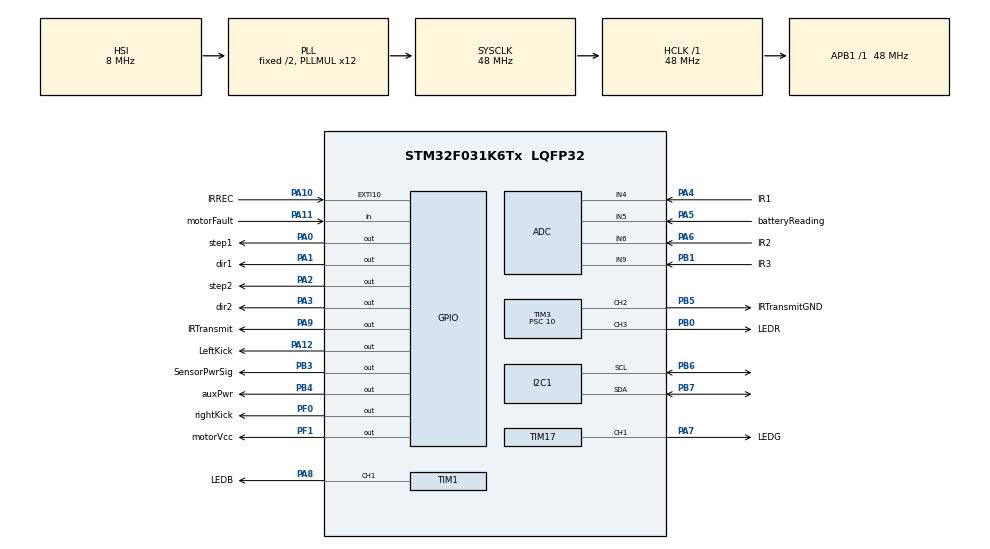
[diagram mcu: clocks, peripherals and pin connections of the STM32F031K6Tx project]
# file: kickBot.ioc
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ADC.Rank=ADC_RANK_CHANNEL_NUMBER
ADC.SamplingTime=ADC_SAMPLETIME_239CYCLES_5
I2C1.OwnAddress2Masks=I2C_OA2_NOMASK
I2C1.Timing=0x2000090E
Mcu.Family=STM32F0
Mcu.Name=STM32F031K6Tx
Mcu.Package=LQFP32
NVIC.ADC1_IRQn=true\:0\:0\:false\:false\:true
NVIC.EXTI4_15_IRQn=true\:0\:0\:false\:false\:true
NVIC.TIM16_IRQn=true\:0\:0\:false\:false\:true
PA0.GPIO_Label=step1
PA0.Signal=GPIO_Output
PA1.GPIO_Label=dir1
PA1.Signal=GPIO_Output
PA10.GPIO_Label=IRREC
PA10.GPIO_ModeDefaultEXTI=GPIO_MODE_IT_FALLING
PA10.Signal=GPXTI10
PA11.GPIO_Label=motorFault
PA11.Signal=GPIO_Input
PA12.GPIO_Label=LeftKick
PA12.Signal=GPIO_Output
PA13.Mode=Serial_Wire
PA13.Signal=SYS_SWDIO
PA14.Mode=Serial_Wire
PA14.Signal=SYS_SWCLK
PA2.GPIO_Label=step2
PA2.Signal=GPIO_Output
PA3.GPIO_Label=dir2
PA3.Signal=GPIO_Output
PA4.GPIO_Label=IR1
PA4.Mode=IN4
PA4.Signal=ADC_IN4
PA5.GPIO_Label=batteryReading
PA5.Mode=IN5
PA5.Signal=ADC_IN5
PA6.GPIO_Label=IR2
PA6.Mode=IN6
PA6.Signal=ADC_IN6
PA7.GPIO_Label=LEDG
PA7.Signal=S_TIM17_CH1
PA8.GPIO_Label=LEDB
PA8.Signal=S_TIM1_CH1
PA9.GPIO_Label=IRTransmit
PA9.Signal=GPIO_Output
PB0.GPIO_Label=LEDR
PB0.Signal=S_TIM3_CH3
PB1.GPIO_Label=IR3
PB1.Mode=IN9
PB1.Signal=ADC_IN9
PB3.GPIO_Label=SensorPwrSig
PB3.Signal=GPIO_Output
PB4.GPIO_Label=auxPwr
PB4.Signal=GPIO_Output
PB5.GPIO_Label=IRTransmitGND
PB5.Signal=S_TIM3_CH2
PB6.Mode=I2C
PB6.Signal=I2C1_SCL
PB7.Mode=I2C
PB7.Signal=I2C1_SDA
PF0-OSC_IN.GPIO_Label=rightKick
PF0-OSC_IN.Signal=GPIO_Output
PF1-OSC_OUT.GPIO_Label=motorVcc
PF1-OSC_OUT.Signal=GPIO_Output
ProjectManager.HeapSize=0x200
ProjectManager.StackSize=0x400
ProjectManager.TargetToolchain=SW4STM32
RCC.AHBCLKDivider=RCC_SYSCLK_DIV1
RCC.AHBFreq_Value=48000000
RCC.APB1CLKDivider=RCC_HCLK_DIV1
RCC.APB1Freq_Value=48000000
RCC.APB1TimFreq_Value=48000000
RCC.CECEnable=false
RCC.ClockTypeHCLK=RCC_CLOCKTYPE_HCLK
RCC.ClockTypePCLK1=RCC_CLOCKTYPE_PCLK1
RCC.DATA_CACHE_ENABLE=0
RCC.EnableHSE=false
RCC.EnableHSERTCDevisor=false
RCC.EnableLSE=false
RCC.EnableLSERTC=false
RCC.EnableMCOMultDivisor=false
RCC.HCLKFreq_Value=48000000
RCC.HSEState=RCC_HSE_OFF
RCC.HSI14State=RCC_HSI14_ON
RCC.HSI48State=RCC_HSI48_OFF
RCC.HSIState=RCC_HSI_ON
RCC.I2C1Enable=true
RCC.INSTRUCTION_CACHE_ENABLE=0
RCC.IWDGEnable=false
RCC.LSIState=RCC_LSI_ON
RCC.MCOEnable=false
RCC.OscillatorTypeHSI=RCC_OSCILLATORTYPE_HSI
RCC.OscillatorTypeHSI14=RCC_OSCILLATORTYPE_HSI14
RCC.OscillatorTypeLSI=RCC_OSCILLATORTYPE_LSI
RCC.PLLDivider=RCC_PREDIV_DIV1
RCC.PLLMUL=RCC_PLL_MUL12
RCC.PLLSource=RCC_PLLSOURCE_HSI
RCC.PLLSourceVirtual=RCC_PLLSOURCE_HSI
RCC.PLLState=RCC_PLL_ON
RCC.RCC_MCODiv=RCC_MCODIV_1
RCC.RCC_MCOMult_Clock_Source_FROM_PLLMUL=RCC_MCO1SOURCE_PLLCLK
RCC.RCC_PERIPHCLK_I2C1Var=RCC_PERIPHCLK_I2C1
RCC.RCC_PERIPHCLK_RTCVar=RCC_PERIPHCLK_RTC
RCC.RCC_PERIPHCLK_USART1Var=RCC_PERIPHCLK_USART1
RCC.RTCEnable=true
RCC.SYSCLKFreq_VALUE=48000000
RCC.SYSCLKSource=RCC_SYSCLKSOURCE_PLLCLK
RCC.TimSys_Div=SYSTICK_CLKSOURCE_HCLK
RCC.USART1Enable=false
RCC.USART2Enable=false
RCC.USBEnable=false
RTC.OutPut=RTC_OUTPUT_DISABLE
RTC.OutPutPolarity=RTC_OUTPUT_POLARITY_HIGH
RTC.OutPutType=RTC_OUTPUT_TYPE_OPENDRAIN
SH.S_TIM17_CH1.0=TIM17_CH1,PWM Generation1 CH1
SH.S_TIM1_CH1.0=TIM1_CH1,PWM Generation1 CH1
SH.S_TIM3_CH2.0=TIM3_CH2,PWM Generation2 CH2
SH.S_TIM3_CH3.0=TIM3_CH3,PWM Generation3 CH3
TIM1.Channel-PWM\ Generation1\ CH1=TIM_CHANNEL_1
TIM1.ClearInputSource=TIM_CLEARINPUTSOURCE_NONE
TIM1.ClearInputState=ENABLE
TIM1.OCNIdleState_1=TIM_OCNIDLESTATE_RESET
TIM1.OCNPolarity_1=TIM_OCNPOLARITY_HIGH
TIM1.Period=2000
TIM1.Prescaler=200
TIM14.Period=0xffff
TIM14.Prescaler=48
TIM16.Period=500
TIM16.Prescaler=48
TIM17.Channel=TIM_CHANNEL_1
TIM17.OCNIdleState_1=TIM_OCNIDLESTATE_RESET
TIM17.OCNPolarity_1=TIM_OCNPOLARITY_HIGH
TIM17.Period=2000
TIM17.Prescaler=200
TIM2.Channel-PWM\ Generation1\ No\ Output=TIM_CHANNEL_1
TIM2.Channel-PWM\ Generation2\ No\ Output=TIM_CHANNEL_2
TIM2.Channel-PWM\ Generation3\ No\ Output=TIM_CHANNEL_3
TIM2.Channel-PWM\ Generation4\ No\ Output=TIM_CHANNEL_4
TIM2.ClearInputSource=TIM_CLEARINPUTSOURCE_NONE
TIM2.ClearInputState=ENABLE
TIM2.Period=200
TIM2.Prescaler=12
TIM3.Channel-PWM\ Generation2\ CH2=TIM_CHANNEL_2
TIM3.Channel-PWM\ Generation3\ CH3=TIM_CHANNEL_3
TIM3.ClearInputSource=TIM_CLEARINPUTSOURCE_NONE
TIM3.ClearInputState=ENABLE
TIM3.Period=126
TIM3.Prescaler=10
VP_RTC_VS_RTC_Activate.Mode=RTC_Enabled
VP_RTC_VS_RTC_Calendar.Mode=RTC_Calendar
VP_TIM14_VS_ClockSourceINT.Mode=Enable_Timer
VP_TIM16_VS_ClockSourceINT.Mode=Enable_Timer
VP_TIM17_VS_ClockSourceINT.Mode=Enable_Timer
VP_TIM2_VS_no_output1.Mode=PWM Generation1 No Output
VP_TIM2_VS_no_output2.Mode=PWM Generation2 No Output
VP_TIM2_VS_no_output3.Mode=PWM Generation3 No Output
VP_TIM2_VS_no_output4.Mode=PWM Generation4 No Output
board=kickBot

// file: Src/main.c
/**
  ******************************************************************************
  * File Name          : main.c
  * Description        : Main program body
  ******************************************************************************
  *
  * COPYRIGHT(c) 2017 STMicroelectronics
  *
  * Redistribution and use in source and binary forms, with or without modification,
  * are permitted provided that the following conditions are met:
  *   1. Redistributions of source code must retain the above copyright notice,
  *      this list of conditions and the following disclaimer.
  *   2. Redistributions in binary form must reproduce the above copyright notice,
  *      this list of conditions and the following disclaimer in the documentation
  *      and/or other materials provided with the distribution.
  *   3. Neither the name of STMicroelectronics nor the names of its contributors
  *      may be used to endorse or promote products derived from this software
  *      without specific prior written permission.
  *
  * THIS SOFTWARE IS PROVIDED BY THE COPYRIGHT HOLDERS AND CONTRIBUTORS "AS IS"
  * AND ANY EXPRESS OR IMPLIED WARRANTIES, INCLUDING, BUT NOT LIMITED TO, THE
  * IMPLIED WARRANTIES OF MERCHANTABILITY AND FITNESS FOR A PARTICULAR PURPOSE ARE
  * DISCLAIMED. IN NO EVENT SHALL THE COPYRIGHT HOLDER OR CONTRIBUTORS BE LIABLE
  * FOR ANY DIRECT, INDIRECT, INCIDENTAL, SPECIAL, EXEMPLARY, OR CONSEQUENTIAL
  * DAMAGES (INCLUDING, BUT NOT LIMITED TO, PROCUREMENT OF SUBSTITUTE GOODS OR
  * SERVICES; LOSS OF USE, DATA, OR PROFITS; OR BUSINESS INTERRUPTION) HOWEVER
  * CAUSED AND ON ANY THEORY OF LIABILITY, WHETHER IN CONTRACT, STRICT LIABILITY,
  * OR TORT (INCLUDING NEGLIGENCE OR OTHERWISE) ARISING IN ANY WAY OUT OF THE USE
  * OF THIS SOFTWARE, EVEN IF ADVISED OF THE POSSIBILITY OF SUCH DAMAGE.
  *
  ******************************************************************************
  */
#include "main.h"
#include "stm32f0xx_hal.h"

/* USER CODE BEGIN Includes */
#include "NEC_Decode.h"
#include "urobotMain.h"
/* USER CODE END Includes */

ADC_HandleTypeDef hadc;

I2C_HandleTypeDef hi2c1;

RTC_HandleTypeDef hrtc;

TIM_HandleTypeDef htim1;
TIM_HandleTypeDef htim2;
TIM_HandleTypeDef htim3;
TIM_HandleTypeDef htim14;
TIM_HandleTypeDef htim16;
TIM_HandleTypeDef htim17;

/* USER CODE BEGIN PV */
/* Private variables ---------------------------------------------------------*/
unsigned int index = 0;
static int raw[4];
/* USER CODE END PV */

void SystemClock_Config(void);
void Error_Handler(void);
static void MX_GPIO_Init(void);
static void MX_ADC_Init(void);
static void MX_I2C1_Init(void);
static void MX_TIM3_Init(void);
static void MX_TIM16_Init(void);
static void MX_TIM14_Init(void);
static void MX_TIM1_Init(void);
static void MX_RTC_Init(void);
static void MX_TIM2_Init(void);
static void MX_TIM17_Init(void);

void HAL_TIM_MspPostInit(TIM_HandleTypeDef *htim);

/* USER CODE BEGIN PFP */
/* Private function prototypes -----------------------------------------------*/

/* USER CODE END PFP */

/* USER CODE BEGIN 0 */
int highIndex = 0;
void HAL_ADC_ConvCpltCallback(ADC_HandleTypeDef* hadc){
	if(__HAL_ADC_GET_FLAG(hadc,ADC_FLAG_EOC)){
		raw[index] = HAL_ADC_GetValue(hadc);
		index++;
		if(index > highIndex){
			highIndex = index;
		}
	}

	if(__HAL_ADC_GET_FLAG(hadc,ADC_FLAG_EOS)){
		static int lowInd = 1024;
		if (index < lowInd) lowInd = index;
		index = 0;
		voltage = 1.0422*3*((3.3*raw[1])/4096.0); //Only add break points in this section else you break the timing on the ADC (I think)
		rightIR = raw[0];
		leftIR = raw[3];
		backIR = raw[2];
		if(emittedBit == 1){
			rightAcc += rightIR;
			leftAcc += leftIR;
			backAcc += backIR;
		}
		else{
			rightAcc -= rightIR;
			leftAcc -= leftIR ;
			backAcc -= backIR;
		}
	}

}
void HAL_TIM_PeriodElapsedCallback(TIM_HandleTypeDef *htim){
	if(htim->Instance == hardware.htim16->Instance){
		millisecondCallback();
	}
}

void HAL_RTC_AlarmAEventCallback(RTC_HandleTypeDef *hrtc)
{
	//reinitialise stuff after falling asleep.
	  MX_GPIO_Init();
	  MX_TIM2_Init();
	  MX_TIM3_Init();
	  MX_TIM1_Init();
	  MX_ADC_Init();
	  MX_TIM16_Init();
	  MX_TIM17_Init();
}

/* USER CODE END 0 */

int main(void)
{

  /* USER CODE BEGIN 1 */
	HAL_GPIO_WritePin(GPIOF, GPIO_PIN_1, GPIO_PIN_SET);

  /* USER CODE END 1 */

  /* MCU Configuration----------------------------------------------------------*/

  /* Reset of all peripherals, Initializes the Flash interface and the Systick. */
  HAL_Init();
  HAL_GPIO_WritePin(GPIOF, GPIO_PIN_1, GPIO_PIN_SET);
  /* Configure the system clock */
  SystemClock_Config();

  /* Initialize all configured peripherals */
  MX_GPIO_Init();
  MX_ADC_Init();
  MX_I2C1_Init();
  MX_TIM3_Init();
  MX_TIM16_Init();
  MX_TIM14_Init();
  MX_TIM1_Init();
  MX_RTC_Init();
  MX_TIM2_Init();
  MX_TIM17_Init();

  /* USER CODE BEGIN 2 */

	hardware.hadc = &hadc;
	hardware.hrtc = &hrtc;
	hardware.htim1 = &htim1;
	hardware.htim2 = &htim2;
	hardware.htim16 = &htim16;
	hardware.htim17 = &htim17;
	hardware.htim3= &htim3;
	hardware.htim14 = &htim14;

	//HAL_ADC_Start_IT(&hardware.hadc);
	//while(1);

  urobotMain();
  /* USER CODE END 2 */

  /* Infinite loop */

}

/** System Clock Configuration
*/
void SystemClock_Config(void)
{

  RCC_OscInitTypeDef RCC_OscInitStruct;
  RCC_ClkInitTypeDef RCC_ClkInitStruct;
  RCC_PeriphCLKInitTypeDef PeriphClkInit;

    /**Initializes the CPU, AHB and APB busses clocks
    */
  RCC_OscInitStruct.OscillatorType = RCC_OSCILLATORTYPE_HSI|RCC_OSCILLATORTYPE_HSI14
                              |RCC_OSCILLATORTYPE_LSI;
  RCC_OscInitStruct.HSIState = RCC_HSI_ON;
  RCC_OscInitStruct.HSI14State = RCC_HSI14_ON;
  RCC_OscInitStruct.HSICalibrationValue = 16;
  RCC_OscInitStruct.HSI14CalibrationValue = 16;
  RCC_OscInitStruct.LSIState = RCC_LSI_ON;
  RCC_OscInitStruct.PLL.PLLState = RCC_PLL_ON;
  RCC_OscInitStruct.PLL.PLLSource = RCC_PLLSOURCE_HSI;
  RCC_OscInitStruct.PLL.PLLMUL = RCC_PLL_MUL12;
  RCC_OscInitStruct.PLL.PREDIV = RCC_PREDIV_DIV1;
  if (HAL_RCC_OscConfig(&RCC_OscInitStruct) != HAL_OK)
  {
    Error_Handler();
  }

    /**Initializes the CPU, AHB and APB busses clocks
    */
  RCC_ClkInitStruct.ClockType = RCC_CLOCKTYPE_HCLK|RCC_CLOCKTYPE_SYSCLK
                              |RCC_CLOCKTYPE_PCLK1;
  RCC_ClkInitStruct.SYSCLKSource = RCC_SYSCLKSOURCE_PLLCLK;
  RCC_ClkInitStruct.AHBCLKDivider = RCC_SYSCLK_DIV1;
  RCC_ClkInitStruct.APB1CLKDivider = RCC_HCLK_DIV1;

  if (HAL_RCC_ClockConfig(&RCC_ClkInitStruct, FLASH_LATENCY_1) != HAL_OK)
  {
    Error_Handler();
  }

  PeriphClkInit.PeriphClockSelection = RCC_PERIPHCLK_USART1|RCC_PERIPHCLK_I2C1
                              |RCC_PERIPHCLK_RTC;
  PeriphClkInit.I2c1ClockSelection = RCC_I2C1CLKSOURCE_HSI;
  PeriphClkInit.RTCClockSelection = RCC_RTCCLKSOURCE_LSI;
  if (HAL_RCCEx_PeriphCLKConfig(&PeriphClkInit) != HAL_OK)
  {
    Error_Handler();
  }

    /**Configure the Systick interrupt time
    */
  HAL_SYSTICK_Config(HAL_RCC_GetHCLKFreq()/1000);

    /**Configure the Systick
    */
  HAL_SYSTICK_CLKSourceConfig(SYSTICK_CLKSOURCE_HCLK);

  /* SysTick_IRQn interrupt configuration */
  HAL_NVIC_SetPriority(SysTick_IRQn, 0, 0);
}

/* ADC init function */
static void MX_ADC_Init(void)
{

  ADC_ChannelConfTypeDef sConfig;

    /**Configure the global features of the ADC (Clock, Resolution, Data Alignment and number of conversion)
    */
  hadc.Instance = ADC1;
  hadc.Init.ClockPrescaler = ADC_CLOCK_ASYNC_DIV1;
  hadc.Init.Resolution = ADC_RESOLUTION_12B;
  hadc.Init.DataAlign = ADC_DATAALIGN_RIGHT;
  hadc.Init.ScanConvMode = ADC_SCAN_DIRECTION_FORWARD;
  hadc.Init.EOCSelection = ADC_EOC_SINGLE_CONV;
  hadc.Init.LowPowerAutoWait = DISABLE;
  hadc.Init.LowPowerAutoPowerOff = DISABLE;
  hadc.Init.ContinuousConvMode = DISABLE;
  hadc.Init.DiscontinuousConvMode = DISABLE;
  hadc.Init.ExternalTrigConv = ADC_SOFTWARE_START;
  hadc.Init.ExternalTrigConvEdge = ADC_EXTERNALTRIGCONVEDGE_NONE;
  hadc.Init.DMAContinuousRequests = DISABLE;
  hadc.Init.Overrun = ADC_OVR_DATA_PRESERVED;
  if (HAL_ADC_Init(&hadc) != HAL_OK)
  {
    Error_Handler();
  }

    /**Configure for the selected ADC regular channel to be converted.
    */
  sConfig.Channel = ADC_CHANNEL_4;
  sConfig.Rank = ADC_RANK_CHANNEL_NUMBER;
  sConfig.SamplingTime = ADC_SAMPLETIME_239CYCLES_5;
  if (HAL_ADC_ConfigChannel(&hadc, &sConfig) != HAL_OK)
  {
    Error_Handler();
  }

    /**Configure for the selected ADC regular channel to be converted.
    */
  sConfig.Channel = ADC_CHANNEL_5;
  if (HAL_ADC_ConfigChannel(&hadc, &sConfig) != HAL_OK)
  {
    Error_Handler();
  }

    /**Configure for the selected ADC regular channel to be converted.
    */
  sConfig.Channel = ADC_CHANNEL_6;
  if (HAL_ADC_ConfigChannel(&hadc, &sConfig) != HAL_OK)
  {
    Error_Handler();
  }

    /**Configure for the selected ADC regular channel to be converted.
    */
  sConfig.Channel = ADC_CHANNEL_9;
  if (HAL_ADC_ConfigChannel(&hadc, &sConfig) != HAL_OK)
  {
    Error_Handler();
  }

}

/* I2C1 init function */
static void MX_I2C1_Init(void)
{

  hi2c1.Instance = I2C1;
  hi2c1.Init.Timing = 0x2000090E;
  hi2c1.Init.OwnAddress1 = 0;
  hi2c1.Init.AddressingMode = I2C_ADDRESSINGMODE_7BIT;
  hi2c1.Init.DualAddressMode = I2C_DUALADDRESS_DISABLE;
  hi2c1.Init.OwnAddress2 = 0;
  hi2c1.Init.OwnAddress2Masks = I2C_OA2_NOMASK;
  hi2c1.Init.GeneralCallMode = I2C_GENERALCALL_DISABLE;
  hi2c1.Init.NoStretchMode = I2C_NOSTRETCH_DISABLE;
  if (HAL_I2C_Init(&hi2c1) != HAL_OK)
  {
    Error_Handler();
  }

    /**Configure Analogue filter
    */
  if (HAL_I2CEx_ConfigAnalogFilter(&hi2c1, I2C_ANALOGFILTER_ENABLE) != HAL_OK)
  {
    Error_Handler();
  }

    /**Configure Digital filter
    */
  if (HAL_I2CEx_ConfigDigitalFilter(&hi2c1, 0) != HAL_OK)
  {
    Error_Handler();
  }

}

/* RTC init function */
static void MX_RTC_Init(void)
{

  RTC_TimeTypeDef sTime;
  RTC_DateTypeDef sDate;

    /**Initialize RTC Only
    */
  hrtc.Instance = RTC;
  hrtc.Init.HourFormat = RTC_HOURFORMAT_24;
  hrtc.Init.AsynchPrediv = 127;
  hrtc.Init.SynchPrediv = 255;
  hrtc.Init.OutPut = RTC_OUTPUT_DISABLE;
  hrtc.Init.OutPutPolarity = RTC_OUTPUT_POLARITY_HIGH;
  hrtc.Init.OutPutType = RTC_OUTPUT_TYPE_OPENDRAIN;
  if (HAL_RTC_Init(&hrtc) != HAL_OK)
  {
    Error_Handler();
  }

    /**Initialize RTC and set the Time and Date
    */
  sTime.Hours = 0x0;
  sTime.Minutes = 0x0;
  sTime.Seconds = 0x0;
  sTime.DayLightSaving = RTC_DAYLIGHTSAVING_NONE;
  sTime.StoreOperation = RTC_STOREOPERATION_RESET;
  if (HAL_RTC_SetTime(&hrtc, &sTime, RTC_FORMAT_BCD) != HAL_OK)
  {
    Error_Handler();
  }

  sDate.WeekDay = RTC_WEEKDAY_MONDAY;
  sDate.Month = RTC_MONTH_JANUARY;
  sDate.Date = 0x1;
  sDate.Year = 0x0;

  if (HAL_RTC_SetDate(&hrtc, &sDate, RTC_FORMAT_BCD) != HAL_OK)
  {
    Error_Handler();
  }

  if(HAL_RTCEx_BKUPRead(&hrtc, RTC_BKP_DR0) != 0x32F2){
    HAL_RTCEx_BKUPWrite(&hrtc,RTC_BKP_DR0,0x32F2);
  }

}

/* TIM1 init function */
static void MX_TIM1_Init(void)
{

  TIM_MasterConfigTypeDef sMasterConfig;
  TIM_OC_InitTypeDef sConfigOC;
  TIM_BreakDeadTimeConfigTypeDef sBreakDeadTimeConfig;

  htim1.Instance = TIM1;
  htim1.Init.Prescaler = 200;
  htim1.Init.CounterMode = TIM_COUNTERMODE_UP;
  htim1.Init.Period = 2000;
  htim1.Init.ClockDivision = TIM_CLOCKDIVISION_DIV1;
  htim1.Init.RepetitionCounter = 0;
  htim1.Init.AutoReloadPreload = TIM_AUTORELOAD_PRELOAD_DISABLE;
  if (HAL_TIM_PWM_Init(&htim1) != HAL_OK)
  {
    Error_Handler();
  }

  sMasterConfig.MasterOutputTrigger = TIM_TRGO_RESET;
  sMasterConfig.MasterSlaveMode = TIM_MASTERSLAVEMODE_DISABLE;
  if (HAL_TIMEx_MasterConfigSynchronization(&htim1, &sMasterConfig) != HAL_OK)
  {
    Error_Handler();
  }

  sConfigOC.OCMode = TIM_OCMODE_PWM1;
  sConfigOC.Pulse = 0;
  sConfigOC.OCPolarity = TIM_OCPOLARITY_HIGH;
  sConfigOC.OCNPolarity = TIM_OCNPOLARITY_HIGH;
  sConfigOC.OCFastMode = TIM_OCFAST_DISABLE;
  sConfigOC.OCIdleState = TIM_OCIDLESTATE_RESET;
  sConfigOC.OCNIdleState = TIM_OCNIDLESTATE_RESET;
  if (HAL_TIM_PWM_ConfigChannel(&htim1, &sConfigOC, TIM_CHANNEL_1) != HAL_OK)
  {
    Error_Handler();
  }

  sBreakDeadTimeConfig.OffStateRunMode = TIM_OSSR_DISABLE;
  sBreakDeadTimeConfig.OffStateIDLEMode = TIM_OSSI_DISABLE;
  sBreakDeadTimeConfig.LockLevel = TIM_LOCKLEVEL_OFF;
  sBreakDeadTimeConfig.DeadTime = 0;
  sBreakDeadTimeConfig.BreakState = TIM_BREAK_DISABLE;
  sBreakDeadTimeConfig.BreakPolarity = TIM_BREAKPOLARITY_HIGH;
  sBreakDeadTimeConfig.AutomaticOutput = TIM_AUTOMATICOUTPUT_DISABLE;
  if (HAL_TIMEx_ConfigBreakDeadTime(&htim1, &sBreakDeadTimeConfig) != HAL_OK)
  {
    Error_Handler();
  }

  HAL_TIM_MspPostInit(&htim1);

}

/* TIM2 init function */
static void MX_TIM2_Init(void)
{

  TIM_MasterConfigTypeDef sMasterConfig;
  TIM_OC_InitTypeDef sConfigOC;

  htim2.Instance = TIM2;
  htim2.Init.Prescaler = 12;
  htim2.Init.CounterMode = TIM_COUNTERMODE_UP;
  htim2.Init.Period = 200;
  htim2.Init.ClockDivision = TIM_CLOCKDIVISION_DIV1;
  htim2.Init.AutoReloadPreload = TIM_AUTORELOAD_PRELOAD_DISABLE;
  if (HAL_TIM_PWM_Init(&htim2) != HAL_OK)
  {
    Error_Handler();
  }

  sMasterConfig.MasterOutputTrigger = TIM_TRGO_RESET;
  sMasterConfig.MasterSlaveMode = TIM_MASTERSLAVEMODE_DISABLE;
  if (HAL_TIMEx_MasterConfigSynchronization(&htim2, &sMasterConfig) != HAL_OK)
  {
    Error_Handler();
  }

  sConfigOC.OCMode = TIM_OCMODE_PWM1;
  sConfigOC.Pulse = 0;
  sConfigOC.OCPolarity = TIM_OCPOLARITY_HIGH;
  sConfigOC.OCFastMode = TIM_OCFAST_DISABLE;
  if (HAL_TIM_PWM_ConfigChannel(&htim2, &sConfigOC, TIM_CHANNEL_1) != HAL_OK)
  {
    Error_Handler();
  }

  if (HAL_TIM_PWM_ConfigChannel(&htim2, &sConfigOC, TIM_CHANNEL_2) != HAL_OK)
  {
    Error_Handler();
  }

  if (HAL_TIM_PWM_ConfigChannel(&htim2, &sConfigOC, TIM_CHANNEL_3) != HAL_OK)
  {
    Error_Handler();
  }

  if (HAL_TIM_PWM_ConfigChannel(&htim2, &sConfigOC, TIM_CHANNEL_4) != HAL_OK)
  {
    Error_Handler();
  }

}

/* TIM3 init function */
static void MX_TIM3_Init(void)
{

  TIM_MasterConfigTypeDef sMasterConfig;
  TIM_OC_InitTypeDef sConfigOC;

  htim3.Instance = TIM3;
  htim3.Init.Prescaler = 10;
  htim3.Init.CounterMode = TIM_COUNTERMODE_UP;
  htim3.Init.Period = 126;
  htim3.Init.ClockDivision = TIM_CLOCKDIVISION_DIV1;
  htim3.Init.AutoReloadPreload = TIM_AUTORELOAD_PRELOAD_DISABLE;
  if (HAL_TIM_PWM_Init(&htim3) != HAL_OK)
  {
    Error_Handler();
  }

  sMasterConfig.MasterOutputTrigger = TIM_TRGO_RESET;
  sMasterConfig.MasterSlaveMode = TIM_MASTERSLAVEMODE_DISABLE;
  if (HAL_TIMEx_MasterConfigSynchronization(&htim3, &sMasterConfig) != HAL_OK)
  {
    Error_Handler();
  }

  sConfigOC.OCMode = TIM_OCMODE_PWM1;
  sConfigOC.Pulse = 0;
  sConfigOC.OCPolarity = TIM_OCPOLARITY_HIGH;
  sConfigOC.OCFastMode = TIM_OCFAST_DISABLE;
  if (HAL_TIM_PWM_ConfigChannel(&htim3, &sConfigOC, TIM_CHANNEL_2) != HAL_OK)
  {
    Error_Handler();
  }

  if (HAL_TIM_PWM_ConfigChannel(&htim3, &sConfigOC, TIM_CHANNEL_3) != HAL_OK)
  {
    Error_Handler();
  }

  HAL_TIM_MspPostInit(&htim3);

}

/* TIM14 init function */
static void MX_TIM14_Init(void)
{

  htim14.Instance = TIM14;
  htim14.Init.Prescaler = 48;
  htim14.Init.CounterMode = TIM_COUNTERMODE_UP;
  htim14.Init.Period = 0xffff;
  htim14.Init.ClockDivision = TIM_CLOCKDIVISION_DIV1;
  htim14.Init.AutoReloadPreload = TIM_AUTORELOAD_PRELOAD_DISABLE;
  if (HAL_TIM_Base_Init(&htim14) != HAL_OK)
  {
    Error_Handler();
  }

}

/* TIM16 init function */
static void MX_TIM16_Init(void)
{

  htim16.Instance = TIM16;
  htim16.Init.Prescaler = 48;
  htim16.Init.CounterMode = TIM_COUNTERMODE_UP;
  htim16.Init.Period = 500;
  htim16.Init.ClockDivision = TIM_CLOCKDIVISION_DIV1;
  htim16.Init.RepetitionCounter = 0;
  htim16.Init.AutoReloadPreload = TIM_AUTORELOAD_PRELOAD_DISABLE;
  if (HAL_TIM_Base_Init(&htim16) != HAL_OK)
  {
    Error_Handler();
  }

}

/* TIM17 init function */
static void MX_TIM17_Init(void)
{

  TIM_OC_InitTypeDef sConfigOC;
  TIM_BreakDeadTimeConfigTypeDef sBreakDeadTimeConfig;

  htim17.Instance = TIM17;
  htim17.Init.Prescaler = 200;
  htim17.Init.CounterMode = TIM_COUNTERMODE_UP;
  htim17.Init.Period = 2000;
  htim17.Init.ClockDivision = TIM_CLOCKDIVISION_DIV1;
  htim17.Init.RepetitionCounter = 0;
  htim17.Init.AutoReloadPreload = TIM_AUTORELOAD_PRELOAD_DISABLE;
  if (HAL_TIM_Base_Init(&htim17) != HAL_OK)
  {
    Error_Handler();
  }

  if (HAL_TIM_PWM_Init(&htim17) != HAL_OK)
  {
    Error_Handler();
  }

  sConfigOC.OCMode = TIM_OCMODE_PWM1;
  sConfigOC.Pulse = 0;
  sConfigOC.OCPolarity = TIM_OCPOLARITY_HIGH;
  sConfigOC.OCNPolarity = TIM_OCNPOLARITY_HIGH;
  sConfigOC.OCFastMode = TIM_OCFAST_DISABLE;
  sConfigOC.OCIdleState = TIM_OCIDLESTATE_RESET;
  sConfigOC.OCNIdleState = TIM_OCNIDLESTATE_RESET;
  if (HAL_TIM_PWM_ConfigChannel(&htim17, &sConfigOC, TIM_CHANNEL_1) != HAL_OK)
  {
    Error_Handler();
  }

  sBreakDeadTimeConfig.OffStateRunMode = TIM_OSSR_DISABLE;
  sBreakDeadTimeConfig.OffStateIDLEMode = TIM_OSSI_DISABLE;
  sBreakDeadTimeConfig.LockLevel = TIM_LOCKLEVEL_OFF;
  sBreakDeadTimeConfig.DeadTime = 0;
  sBreakDeadTimeConfig.BreakState = TIM_BREAK_DISABLE;
  sBreakDeadTimeConfig.BreakPolarity = TIM_BREAKPOLARITY_HIGH;
  sBreakDeadTimeConfig.AutomaticOutput = TIM_AUTOMATICOUTPUT_DISABLE;
  if (HAL_TIMEx_ConfigBreakDeadTime(&htim17, &sBreakDeadTimeConfig) != HAL_OK)
  {
    Error_Handler();
  }

  HAL_TIM_MspPostInit(&htim17);

}

/** Configure pins as
        * Analog
        * Input
        * Output
        * EVENT_OUT
        * EXTI
*/
static void MX_GPIO_Init(void)
{

  GPIO_InitTypeDef GPIO_InitStruct;

  /* GPIO Ports Clock Enable */
  __HAL_RCC_GPIOF_CLK_ENABLE();
  __HAL_RCC_GPIOA_CLK_ENABLE();
  __HAL_RCC_GPIOB_CLK_ENABLE();

  /*Configure GPIO pin Output Level */
  HAL_GPIO_WritePin(GPIOF, rightKick_Pin|motorVcc_Pin, GPIO_PIN_RESET);

  /*Configure GPIO pin Output Level */
  HAL_GPIO_WritePin(GPIOA, step1_Pin|dir1_Pin|step2_Pin|dir2_Pin
                          |IRTransmit_Pin|LeftKick_Pin, GPIO_PIN_RESET);

  /*Configure GPIO pin Output Level */
  HAL_GPIO_WritePin(GPIOB, SensorPwrSig_Pin|auxPwr_Pin, GPIO_PIN_RESET);

  /*Configure GPIO pins : rightKick_Pin motorVcc_Pin */
  GPIO_InitStruct.Pin = rightKick_Pin|motorVcc_Pin;
  GPIO_InitStruct.Mode = GPIO_MODE_OUTPUT_PP;
  GPIO_InitStruct.Pull = GPIO_NOPULL;
  GPIO_InitStruct.Speed = GPIO_SPEED_FREQ_LOW;
  HAL_GPIO_Init(GPIOF, &GPIO_InitStruct);

  /*Configure GPIO pins : step1_Pin dir1_Pin step2_Pin dir2_Pin
                           IRTransmit_Pin LeftKick_Pin */
  GPIO_InitStruct.Pin = step1_Pin|dir1_Pin|step2_Pin|dir2_Pin
                          |IRTransmit_Pin|LeftKick_Pin;
  GPIO_InitStruct.Mode = GPIO_MODE_OUTPUT_PP;
  GPIO_InitStruct.Pull = GPIO_NOPULL;
  GPIO_InitStruct.Speed = GPIO_SPEED_FREQ_LOW;
  HAL_GPIO_Init(GPIOA, &GPIO_InitStruct);

  /*Configure GPIO pin : IRREC_Pin */
  GPIO_InitStruct.Pin = IRREC_Pin;
  GPIO_InitStruct.Mode = GPIO_MODE_IT_FALLING;
  GPIO_InitStruct.Pull = GPIO_NOPULL;
  HAL_GPIO_Init(IRREC_GPIO_Port, &GPIO_InitStruct);

  /*Configure GPIO pin : motorFault_Pin */
  GPIO_InitStruct.Pin = motorFault_Pin;
  GPIO_InitStruct.Mode = GPIO_MODE_INPUT;
  GPIO_InitStruct.Pull = GPIO_NOPULL;
  HAL_GPIO_Init(motorFault_GPIO_Port, &GPIO_InitStruct);

  /*Configure GPIO pins : SensorPwrSig_Pin auxPwr_Pin */
  GPIO_InitStruct.Pin = SensorPwrSig_Pin|auxPwr_Pin;
  GPIO_InitStruct.Mode = GPIO_MODE_OUTPUT_PP;
  GPIO_InitStruct.Pull = GPIO_NOPULL;
  GPIO_InitStruct.Speed = GPIO_SPEED_FREQ_LOW;
  HAL_GPIO_Init(GPIOB, &GPIO_InitStruct);

  /* EXTI interrupt init*/
  HAL_NVIC_SetPriority(EXTI4_15_IRQn, 0, 0);
  HAL_NVIC_EnableIRQ(EXTI4_15_IRQn);

}

void Error_Handler(void)
{
  while(1)
  {
  }
}

/************************ (C) COPYRIGHT STMicroelectronics *****END OF FILE****/
